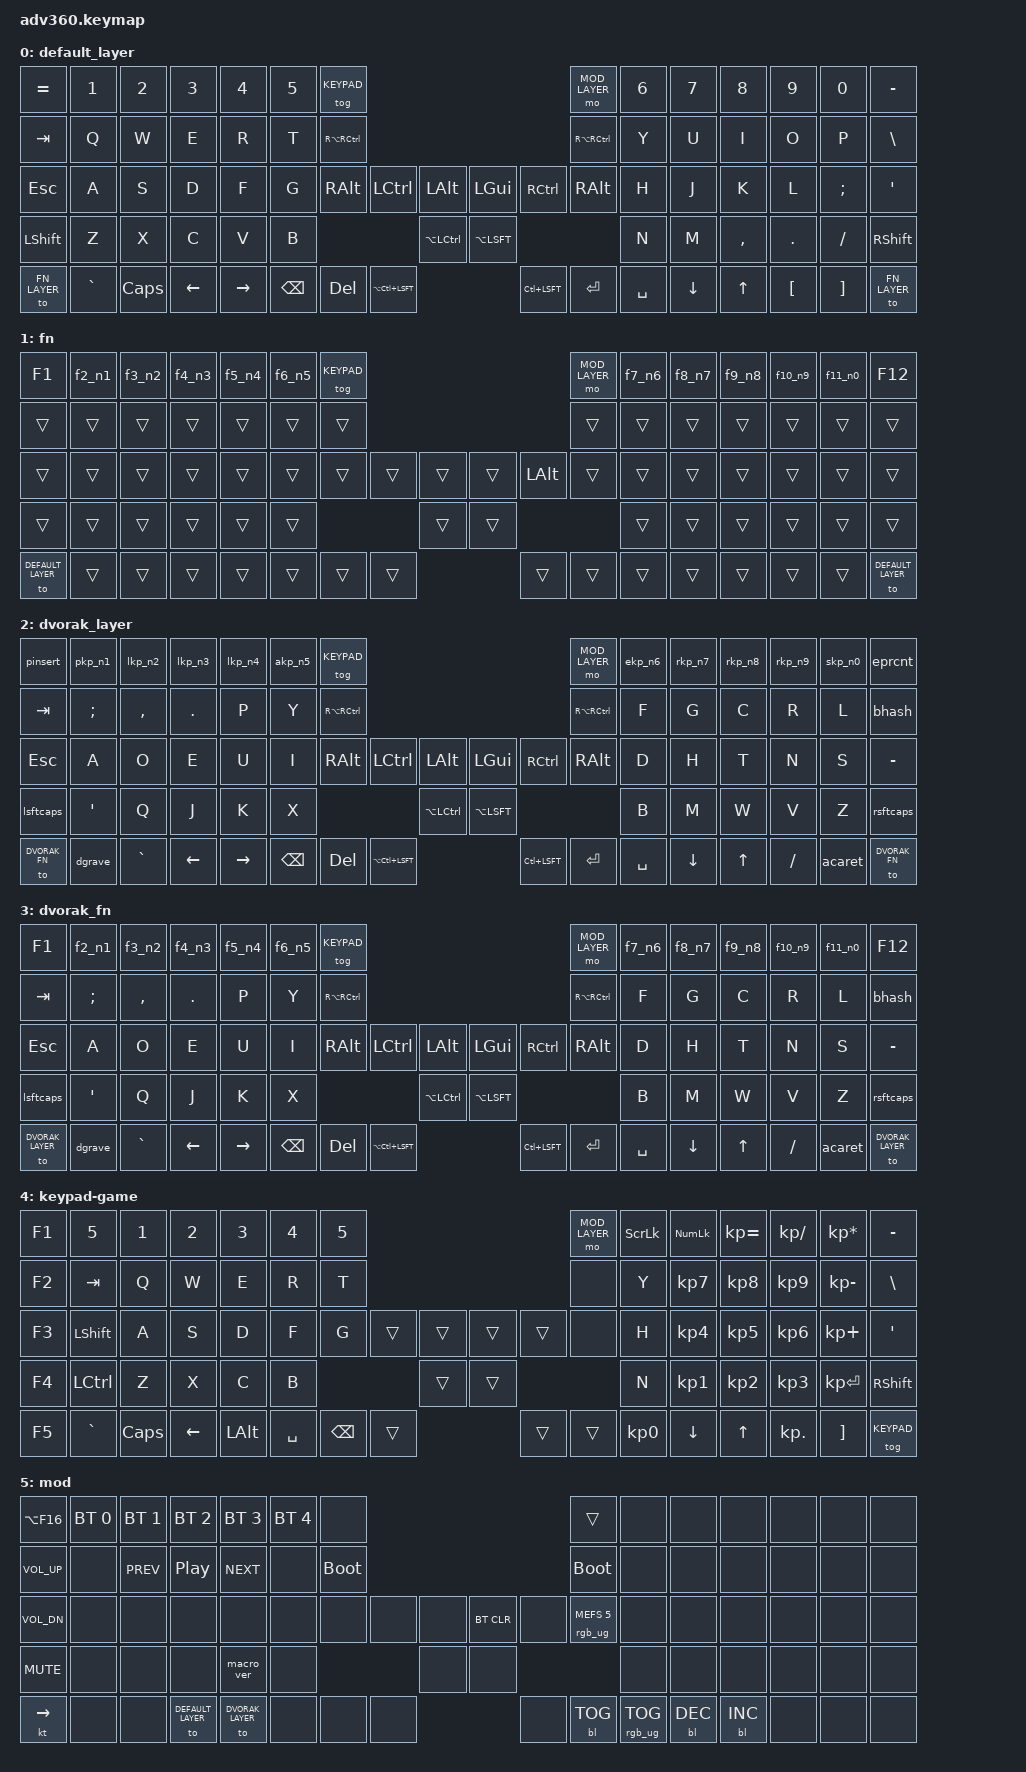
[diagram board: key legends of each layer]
#include <behaviors.dtsi>
#include <dt-bindings/zmk/backlight.h>
#include <dt-bindings/zmk/bt.h>
#include <dt-bindings/zmk/keys.h>
#include <dt-bindings/zmk/rgb.h>

#define DEFAULT_LAYER 0
#define FN_LAYER 1
#define DVORAK_LAYER 2
#define DVORAK_FN 3
#define KEYPAD 4
#define MOD_LAYER 5

/ {
    behaviors {
        #include "macros.dtsi"
      #include "version.dtsi"
      #ifndef VERSION_MACRO

        macro_ver: macro_ver {
            compatible = "zmk,behavior-macro";
            label = "macro_version";
            #binding-cells = <0>;
            bindings = <&kp RET>;
        };

        #endif

        hm: homerow_mods {
            compatible = "zmk,behavior-hold-tap";
            label = "HOMEROW_MODS";
            #binding-cells = <2>;
            tapping-term-ms = <200>;
            quick_tap_ms = <175>;
            flavor = "tap-preferred";
            bindings = <&kp>, <&kp>;
        };

gpipe: grave_pipe {
    compatible = "zmk,behavior-mod-morph";
    label = "grave_pipe";
    #binding-cells = <0>;
    bindings = <&kp GRAVE>, <&kp PIPE>;
    mods = <(MOD_LSFT|MOD_RSFT)>;
};

ppipe: pipe_pipe {
    compatible = "zmk,behavior-mod-morph";
    label = "pipe_pipe";
    #binding-cells = <0>;
    bindings = <&kp PIPE>, <&kp PIPE>;
    mods = <(MOD_LSFT|MOD_RSFT)>;
};

pinsert: pipe_insert {
    compatible = "zmk,behavior-mod-morph";
    label = "pipe_pipe";
    #binding-cells = <0>;
    bindings = <&kp PIPE>, <&kp INSERT>;
    mods = <(MOD_LSFT|MOD_RSFT|MOD_RALT|MOD_RCTL)>;
    keep-mods = <(MOD_LSFT|MOD_RSFT|MOD_RALT|MOD_RCTL)>;
};

pkp_n1: plus_kp_n1 {
    compatible = "zmk,behavior-mod-morph";
    label = "plus_kp_n1";
    #binding-cells = <0>;
    bindings = <&kp PLUS>, <&kp N1>;
    mods = <(MOD_LSFT|MOD_RSFT|MOD_LGUI|MOD_RGUI|MOD_LALT|MOD_RALT|MOD_LCTL)>;
    keep-mods = <(MOD_LGUI|MOD_RGUI|MOD_LALT|MOD_RALT|MOD_LCTL|MOD_RCTL|MOD_LSFT)>;
};

lkp_n2: left_bracket_kp_n2 {
    compatible = "zmk,behavior-mod-morph";
    label = "left_bracket_kp_n2";
    #binding-cells = <0>;
    bindings = <&kp LEFT_BRACKET>, <&kp N2>;
    mods = <(MOD_LSFT|MOD_RSFT|MOD_LGUI|MOD_RGUI|MOD_LALT|MOD_RALT|MOD_LCTL)>;
    keep-mods = <(MOD_LGUI|MOD_RGUI|MOD_LALT|MOD_RALT|MOD_LCTL|MOD_RCTL|MOD_LSFT)>;
};

lkp_n3: left_brace_kp_n3 {
    compatible = "zmk,behavior-mod-morph";
    label = "left_brace_kp_n3";
    #binding-cells = <0>;
    bindings = <&kp LEFT_BRACE>, <&kp N3>;
    mods = <(MOD_LSFT|MOD_RSFT|MOD_LGUI|MOD_RGUI|MOD_LALT|MOD_RALT|MOD_LCTL)>;
    keep-mods = <(MOD_LGUI|MOD_RGUI|MOD_LALT|MOD_RALT|MOD_LCTL|MOD_RCTL|MOD_LSFT)>;
};

lkp_n4: left_parenthesis_kp_n4 {
    compatible = "zmk,behavior-mod-morph";
    label = "left_parenthesis_kp_n4";
    #binding-cells = <0>;
    bindings = <&kp LEFT_PARENTHESIS>, <&kp N4>;
    mods = <(MOD_LSFT|MOD_RSFT|MOD_LGUI|MOD_RGUI|MOD_LALT|MOD_RALT|MOD_LCTL)>;
    keep-mods = <(MOD_LGUI|MOD_RGUI|MOD_LALT|MOD_RALT|MOD_LCTL|MOD_RCTL|MOD_LSFT)>;
};

akp_n5: amps_kp_n5 {
    compatible = "zmk,behavior-mod-morph";
    label = "amps_kp_n5";
    #binding-cells = <0>;
    bindings = <&kp AMPS>, <&kp N5>;
    mods = <(MOD_LSFT|MOD_RSFT|MOD_LGUI|MOD_RGUI|MOD_LALT|MOD_RALT|MOD_LCTL)>;
    keep-mods = <(MOD_LGUI|MOD_RGUI|MOD_LALT|MOD_RALT|MOD_LCTL|MOD_RCTL|MOD_LSFT)>;
};

ekp_n6: equal_kp_n6 {
    compatible = "zmk,behavior-mod-morph";
    label = "equal_kp_n6";
    #binding-cells = <0>;
    bindings = <&kp EQUAL>, <&kp N6>;
    mods = <(MOD_LSFT|MOD_RSFT|MOD_LGUI|MOD_RGUI|MOD_LALT|MOD_RALT|MOD_LCTL)>;
    keep-mods = <(MOD_LGUI|MOD_RGUI|MOD_LALT|MOD_RALT|MOD_LCTL|MOD_RCTL|MOD_RSFT)>;
};

rkp_n7: right_parenthesis_kp_n7 {
    compatible = "zmk,behavior-mod-morph";
    label = "right_parenthesis_kp_n7";
    #binding-cells = <0>;
    bindings = <&kp RIGHT_PARENTHESIS>, <&kp N7>;
    mods = <(MOD_LSFT|MOD_RSFT|MOD_LGUI|MOD_RGUI|MOD_LALT|MOD_RALT|MOD_LCTL)>;
    keep-mods = <(MOD_LGUI|MOD_RGUI|MOD_LALT|MOD_RALT|MOD_LCTL|MOD_RCTL|MOD_RSFT)>;
};

rkp_n8: right_brace_kp_n8 {
    compatible = "zmk,behavior-mod-morph";
    label = "right_brace_kp_n8";
    #binding-cells = <0>;
    bindings = <&kp RIGHT_BRACE>, <&kp N8>;
    mods = <(MOD_LSFT|MOD_RSFT|MOD_LGUI|MOD_RGUI|MOD_LALT|MOD_RALT|MOD_LCTL)>;
    keep-mods = <(MOD_LGUI|MOD_RGUI|MOD_LALT|MOD_RALT|MOD_LCTL|MOD_RCTL|MOD_RSFT)>;
};

rkp_n9: right_bracket_kp_n9 {
    compatible = "zmk,behavior-mod-morph";
    label = "right_bracket_kp_n9";
    #binding-cells = <0>;
    bindings = <&kp RIGHT_BRACKET>, <&kp N9>;
    mods = <(MOD_LSFT|MOD_RSFT|MOD_LGUI|MOD_RGUI|MOD_LALT|MOD_RALT|MOD_LCTL)>;
    keep-mods = <(MOD_LGUI|MOD_RGUI|MOD_LALT|MOD_RALT|MOD_LCTL|MOD_RCTL|MOD_RSFT)>;
};

skp_n0: star_kp_n0 {
    compatible = "zmk,behavior-mod-morph";
    label = "star_kp_n0";
    #binding-cells = <0>;
    bindings = <&kp STAR>, <&kp N0>;
    mods = <(MOD_LSFT|MOD_RSFT|MOD_LGUI|MOD_RGUI|MOD_LALT|MOD_RALT|MOD_LCTL)>;
    keep-mods = <(MOD_LGUI|MOD_RGUI|MOD_LALT|MOD_RALT|MOD_LCTL|MOD_RCTL|MOD_RSFT)>;
};

f2_n1: f2_n1 {
    compatible = "zmk,behavior-mod-morph";
    label = "F2_n1";
    #binding-cells = <0>;
    bindings = <&kp F2>, <&kp N1>;
    mods = <(MOD_RALT|MOD_RCTL)>;
    keep-mods = <(MOD_RALT|MOD_RCTL)>;
};

f3_n2: f3_n2 {
    compatible = "zmk,behavior-mod-morph";
    label = "F3_n2";
    #binding-cells = <0>;
    bindings = <&kp F3>, <&kp N2>;
    mods = <(MOD_RALT|MOD_RCTL)>;
    keep-mods = <(MOD_RALT|MOD_RCTL)>;
};

f4_n3: f4_n3 {
    compatible = "zmk,behavior-mod-morph";
    label = "F4_n3";
    #binding-cells = <0>;
    bindings = <&kp F4>, <&kp N3>;
    mods = <(MOD_RALT|MOD_RCTL)>;
    keep-mods = <(MOD_RALT|MOD_RCTL)>;
};

f5_n4: f5_n4 {
    compatible = "zmk,behavior-mod-morph";
    label = "F5_n4";
    #binding-cells = <0>;
    bindings = <&kp F5>, <&kp N4>;
    mods = <(MOD_RALT|MOD_RCTL)>;
    keep-mods = <(MOD_RALT|MOD_RCTL)>;
};

f6_n5: f6_n5 {
    compatible = "zmk,behavior-mod-morph";
    label = "F6_n5";
    #binding-cells = <0>;
    bindings = <&kp F6>, <&kp N5>;
    mods = <(MOD_RALT|MOD_RCTL)>;
    keep-mods = <(MOD_RALT|MOD_RCTL)>;
};

f7_n6: f7_n6 {
    compatible = "zmk,behavior-mod-morph";
    label = "F7_n6";
    #binding-cells = <0>;
    bindings = <&kp F7>, <&kp N6>;
    mods = <(MOD_RALT|MOD_RCTL)>;
    keep-mods = <(MOD_RALT|MOD_RCTL)>;
};

f8_n7: f8_n7 {
    compatible = "zmk,behavior-mod-morph";
    label = "F8_n7";
    #binding-cells = <0>;
    bindings = <&kp F8>, <&kp N7>;
    mods = <(MOD_RALT|MOD_RCTL)>;
    keep-mods = <(MOD_RALT|MOD_RCTL)>;
};

f9_n8: f9_n8 {
    compatible = "zmk,behavior-mod-morph";
    label = "F9_n8";
    #binding-cells = <0>;
    bindings = <&kp F9>, <&kp N8>;
    mods = <(MOD_RALT|MOD_RCTL)>;
    keep-mods = <(MOD_RALT|MOD_RCTL)>;
};

f10_n9: f10_n9 {
    compatible = "zmk,behavior-mod-morph";
    label = "F10_n9";
    #binding-cells = <0>;
    bindings = <&kp F10>, <&kp N9>;
    mods = <(MOD_RALT|MOD_RCTL)>;
    keep-mods = <(MOD_RALT|MOD_RCTL)>;
};

f11_n0: f11_n0 {
    compatible = "zmk,behavior-mod-morph";
    label = "F11_n0";
    #binding-cells = <0>;
    bindings = <&kp F11>, <&kp N0>;
    mods = <(MOD_RALT|MOD_RCTL)>;
    keep-mods = <(MOD_RALT|MOD_RCTL)>;
};

eprcnt: excl_prcnt {
    compatible = "zmk,behavior-mod-morph";
    label = "excl_prcnt";
    #binding-cells = <0>;
    bindings = <&kp EXCL>, <&kp PRCNT>;
    mods = <(MOD_LSFT|MOD_RSFT)>;
};

dgrave: dllr_grave {
    compatible = "zmk,behavior-mod-morph";
    label = "dllr_grave";
    #binding-cells = <0>;
    bindings = <&kp DLLR>, <&kp GRAVE>;
    mods = <(MOD_LSFT|MOD_RSFT)>;
};
ggrave: grave_grave {
    compatible = "zmk,behavior-mod-morph";
    label = "grave_grave";
    #binding-cells = <0>;
    bindings = <&kp GRAVE>, <&kp GRAVE>;
    mods = <(MOD_LSFT|MOD_RSFT)>;
};
bhash: bslh_hash {
    compatible = "zmk,behavior-mod-morph";
    label = "bslh_hash";
    #binding-cells = <0>;
    bindings = <&kp BSLH>, <&kp HASH>;
    mods = <(MOD_LSFT|MOD_RSFT)>;
};
acaret: at_caret {
    compatible = "zmk,behavior-mod-morph";
    label = "at_caret";
    #binding-cells = <0>;
    bindings = <&kp AT>, <&kp CARET>;
    mods = <(MOD_LSFT|MOD_RSFT)>;
};

lsftcaps: lsft_caps {
    compatible = "zmk,behavior-mod-morph";
    label = "lsft_caps";
    #binding-cells = <0>;
    bindings = <&kp LSFT>, <&kp CAPS>;
    mods = <(MOD_RSFT)>;
};

rsftcaps: rsft_caps {
    compatible = "zmk,behavior-mod-morph";
    label = "rsft_caps";
    #binding-cells = <0>;
    bindings = <&kp RSFT>, <&kp CAPS>;
    mods = <(MOD_LSFT)>;
};

    };

    macros {
    };

    keymap {
        compatible = "zmk,keymap";

        // 0

        default_layer {
            bindings = <
&kp EQUAL    &kp N1    &kp N2   &kp N3   &kp N4    &kp N5 &tog KEYPAD                                                                         &mo MOD_LAYER &kp N6 &kp N7   &kp N8    &kp N9   &kp N0   &kp MINUS
&kp TAB      &kp Q     &kp W    &kp E    &kp R     &kp T  &kp RA(RCTRL)                                                                       &kp RA(RCTRL) &kp Y  &kp U    &kp I     &kp O    &kp P    &kp BSLH
&kp ESC      &kp A     &kp S    &kp D    &kp F     &kp G  &kp RALT               &kp LCTRL &kp LALT          &kp LGUI     &kp RCTRL           &kp RALT      &kp H  &kp J    &kp K     &kp L    &kp SEMI &kp SQT
&kp LSHFT    &kp Z     &kp X    &kp C    &kp V     &kp B                                   &kp LA(LCTRL)     &kp LA(LSFT)                                   &kp N  &kp M    &kp COMMA &kp DOT  &kp FSLH &kp RSHFT
&to FN_LAYER &kp GRAVE &kp CAPS &kp LEFT &kp RIGHT                      &kp BSPC &kp DEL   &kp LA(LC(LSFT))  &kp LC(LSFT) &kp ENTER &kp SPACE                      &kp DOWN &kp UP    &kp LBKT &kp RBKT &to FN_LAYER
            >;
        };

        // 1

        fn {
            bindings = <
&kp F1            &f2_n1 &f3_n2 &f4_n3 &f5_n4 &f6_n5 &tog KEYPAD                                              &mo MOD_LAYER &f7_n6 &f8_n7 &f9_n8 &f10_n9 &f11_n0 &kp F12
&trans            &trans &trans &trans &trans &trans &trans                                                   &trans        &trans &trans &trans &trans  &trans  &trans
&trans            &trans &trans &trans &trans &trans &trans             &trans &trans  &trans &kp LALT        &trans        &trans &trans &trans &trans  &trans  &trans
&trans            &trans &trans &trans &trans &trans                           &trans  &trans                               &trans &trans &trans &trans  &trans  &trans
&to DEFAULT_LAYER &trans &trans &trans &trans                    &trans &trans &trans  &trans &trans   &trans                      &trans &trans &trans  &trans  &to DEFAULT_LAYER
            >;
        };

        // 2

        dvorak_layer {
          bindings = <
&pinsert      &pkp_n1  &lkp_n2   &lkp_n3  &lkp_n4   &akp_n5 &tog KEYPAD                                                                         &mo MOD_LAYER &ekp_n6 &rkp_n7  &rkp_n8 &rkp_n9  &skp_n0 &eprcnt
&kp TAB       &kp SEMI &kp COMMA &kp DOT  &kp P     &kp Y   &kp RA(RCTRL)                                                                       &kp RA(RCTRL) &kp F   &kp G    &kp C   &kp R    &kp L   &bhash
&kp ESC       &kp A    &kp O     &kp E    &kp U     &kp I   &kp RALT               &kp LCTRL &kp LALT          &kp LGUI     &kp RCTRL           &kp RALT      &kp D   &kp H    &kp T   &kp N    &kp S   &kp MINUS
&lsftcaps     &kp APOS &kp Q     &kp J    &kp K     &kp X                                    &kp LA(LCTRL)     &kp LA(LSFT)                                   &kp B   &kp M    &kp W   &kp V    &kp Z   &rsftcaps
&to DVORAK_FN &dgrave  &kp GRAVE &kp LEFT &kp RIGHT                       &kp BSPC &kp DEL   &kp LA(LC(LSFT))  &kp LC(LSFT) &kp ENTER &kp SPACE                       &kp DOWN &kp UP  &kp FSLH &acaret &to DVORAK_FN
            >;
        };

            // 3

        dvorak_fn {
            bindings = <
&kp F1           &f2_n1   &f3_n2    &f4_n3   &f5_n4    &f6_n5  &tog KEYPAD                                                                         &mo MOD_LAYER &f7_n6  &f8_n7   &f9_n8  &f10_n9  &f11_n0 &kp F12
&kp TAB          &kp SEMI &kp COMMA &kp DOT  &kp P     &kp Y   &kp RA(RCTRL)                                                                       &kp RA(RCTRL) &kp F   &kp G    &kp C   &kp R    &kp L   &bhash
&kp ESC          &kp A    &kp O     &kp E    &kp U     &kp I   &kp RALT               &kp LCTRL &kp LALT          &kp LGUI     &kp RCTRL           &kp RALT      &kp D   &kp H    &kp T   &kp N    &kp S   &kp MINUS
&lsftcaps        &kp APOS &kp Q     &kp J    &kp K     &kp X                                    &kp LA(LCTRL)     &kp LA(LSFT)                                   &kp B   &kp M    &kp W   &kp V    &kp Z   &rsftcaps
&to DVORAK_LAYER &dgrave  &kp GRAVE &kp LEFT &kp RIGHT                       &kp BSPC &kp DEL   &kp LA(LC(LSFT))  &kp LC(LSFT) &kp ENTER &kp SPACE                       &kp DOWN &kp UP  &kp FSLH &acaret &to DVORAK_LAYER
            >;
        };

        // 4

        keypad-game {
            bindings = <
&kp F1 &kp N5    &kp N1   &kp N2   &kp N3   &kp N4 &kp N5                                                    &mo MOD_LAYER &kp SLCK &kp KP_NUM &kp KP_EQUAL &kp KP_DIVIDE &kp KP_MULTIPLY &kp MINUS
&kp F2 &kp TAB   &kp Q    &kp W    &kp E    &kp R  &kp T                                                     &none         &kp Y    &kp KP_N7  &kp KP_N8    &kp KP_N9     &kp KP_MINUS    &kp BSLH
&kp F3 &kp LSHFT &kp A    &kp S    &kp D    &kp F  &kp G            &trans   &trans  &trans &trans           &none         &kp H    &kp KP_N4  &kp KP_N5    &kp KP_N6     &kp KP_PLUS     &kp SQT
&kp F4 &kp LCTRL &kp Z    &kp X    &kp C    &kp B                            &trans  &trans                                &kp N    &kp KP_N1  &kp KP_N2    &kp KP_N3     &kp KP_ENTER    &kp RSHFT
&kp F5 &kp GRAVE &kp CAPS &kp LEFT &kp LALT               &kp SPACE &kp BSPC &trans  &trans &trans &kp KP_N0                        &kp DOWN   &kp UP       &kp KP_DOT    &kp RBKT        &tog KEYPAD
            >;
        };

        // 5

        mod {
            bindings = <
&kp LA(F16)  &bt BT_SEL 0 &bt BT_SEL 1 &bt BT_SEL 2      &bt BT_SEL 3     &bt BT_SEL 4 &none                                                                &trans                 &none &none      &none      &none &none &none
&kp C_VOL_UP &none        &kp C_PREV   &kp C_PP          &kp C_NEXT       &none        &bootloader                                                          &bootloader            &none &none      &none      &none &none &none
&kp C_VOL_DN &none        &none        &none             &none            &none        &none             &none &none  &bt BT_CLR &none                      &rgb_ug RGB_MEFS_CMD 5 &none &none      &none      &none &none &none
&kp C_MUTE   &none        &none        &none             &macro_ver       &none                                &none  &none                                                        &none &none      &none      &none &none &none
&kt RIGHT    &none        &none        &to DEFAULT_LAYER &to DVORAK_LAYER                          &none &none &none  &none      &bl BL_TOG &rgb_ug RGB_TOG                              &bl BL_DEC &bl BL_INC &none &none &none
            >;
        };

            // 6

    };
};
